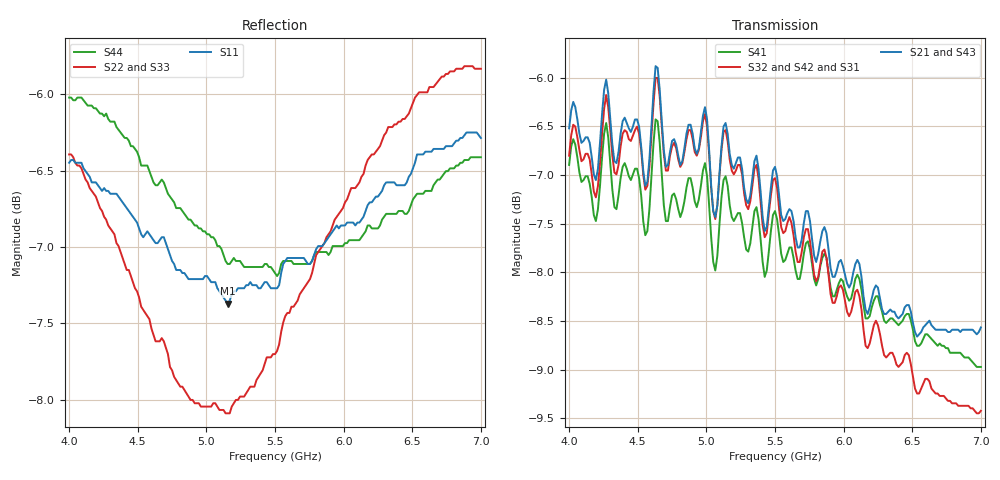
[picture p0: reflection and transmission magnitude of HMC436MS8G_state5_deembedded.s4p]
!Hittite Microwave Corporation
!12 Elizabeth Drive
!Chelmsford, MA 01824
!Tel: 978-250-3343
!Fax: 978-250-3373
!Device: HMC436MS8G, 4.9-5.9 GHz GaAs MMIC DPDT Diversity Switch in 8-lead Grounded Base surface Mount Plastic Package
!Misc:  Port 1 = ANT1, Port 2 = ANT2, Port 3 = Tx, Port 4 = Rx, Vctl=+3V, State 5 selected, Room
# MHZ S MA R 50
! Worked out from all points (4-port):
!   201 points, 4 GHz to 7 GHz, reference 50 ohm
!   strongest paths, dB at 4 GHz, 4.75 GHz, 5.5 GHz, 6.25 GHz, 7 GHz:
!     S21: -6.5, -6.7, -6.9, -8.2, -8.6
!     S32: -6.8, -6.7, -7.0, -8.5, -9.4
!     S43: -6.7, -7.0, -7.1, -8.1, -8.5
!     S42: -6.9, -7.0, -7.2, -8.4, -9.3
!     S31: -6.7, -6.9, -7.2, -8.5, -9.2
!     S41: -6.9, -7.2, -7.4, -8.2, -9.0
!   lowest |S11| = -7.4 dB at 5.155 GHz (marker M1), VSWR 2.50, Z = 36.9 + j38.5 ohm
!   |S11| at or under -10 dB: nowhere
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4000  0.476 112.1  0.449 50.8  0.442 45.5  0.433 37.4
      0.472 50.8  0.479 115.4  0.438 42.0  0.432 44.6
      0.463 45.5  0.457 42.0  0.48 113.3  0.443 48.9
      0.452 37.0  0.45 44.2  0.463 48.5  0.5 107.9
4075  0.476 111.5  0.484 46.2  0.474 40.6  0.46 31.9
      0.469 47.3  0.475 114.7  0.473 37.1  0.46 39.2
      0.46 41.7  0.46 38.2  0.476 112.4  0.472 43.4
      0.448 33.4  0.45 40.6  0.461 44.9  0.5 107.2
4735  0.444 97.6  0.434 56.8  0.422 51.0  0.406 42.9
      0.459 54.6  0.408 98.2  0.431 45.9  0.417 50.5
      0.446 48.6  0.457 43.4  0.418 96.9  0.417 55.6
      0.43 40.1  0.443 47.6  0.443 52.7  0.464 94.5
4810  0.439 95.7  0.5 54.2  0.486 48.1  0.473 39.3
      0.452 54.9  0.402 95.8  0.499 42.7  0.488 46.9
      0.439 48.9  0.451 43.4  0.412 94.8  0.488 52.3
      0.425 40.3  0.439 47.7  0.437 53.2  0.46 92.7
5155  0.428 84.9  0.478 57.1  0.464 50.5  0.452 42.2
      0.469 56.5  0.394 82.2  0.476 44.2  0.467 49.4
      0.455 49.9  0.465 43.6  0.407 82.2  0.468 55.9
      0.441 41.7  0.453 48.8  0.455 55.2  0.441 82.4
5950  0.454 74.0  0.401 66.1  0.384 58.4  0.392 49.9
      0.399 67.2  0.457 69.6  0.389 50.4  0.392 56.3
      0.382 59.4  0.387 51.5  0.467 70.6  0.399 65.0
      0.39 50.8  0.39 57.3  0.396 66.1  0.447 69.7
7000  0.485 91.0  0.372 85.6  0.344 76.0  0.356 62.2
      0.373 85.9  0.511 90.0  0.338 68.2  0.344 72.2
      0.345 76.4  0.338 68.8  0.507 90.5  0.374 82.6
      0.356 62.3  0.344 72.3  0.375 82.9  0.478 84.9
